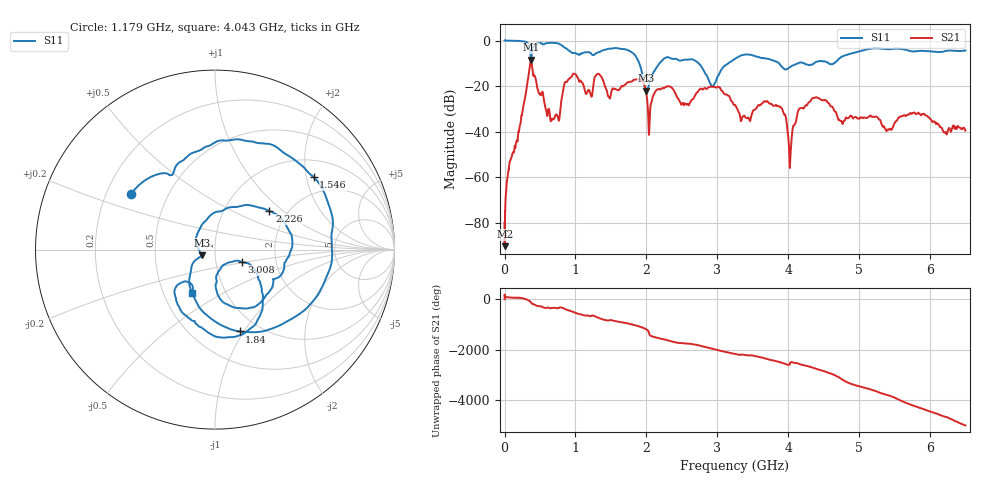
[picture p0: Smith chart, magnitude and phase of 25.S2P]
!Keysight Technologies,E5063A,MY54503115,A.05.08
!Date: Wed Nov 22 14:27:38 2023
!Data & Calibration Information:
!Freq	S11:NONE(--)	S21:NONE(--)	S12:NONE(--)	S22:NONE(--)
# Hz S dB R 50
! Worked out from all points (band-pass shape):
!   10001 points, 100 kHz to 6.5 GHz, reference 50 ohm
!   highest |S21| = -8.35 dB at 371.2 MHz (marker M1); lowest = -90.1 dB at 1.4 MHz (marker M2)
!   |S21| within 3 dB of the highest: 355.6 MHz to 388.1 MHz (32.55 MHz wide, 8.75 % of centre)
!   lowest |S11| = -22.0 dB at 1.995 GHz (marker M3), VSWR 1.17, Z = 43.2 - j2.78 ohm
!   |S11| at or under -10 dB: 1.9 GHz to 2.182 GHz (282.7 MHz wide, 13.8 % of centre); 2.739 GHz to 3.153 GHz (413.7 MHz wide, 14 % of centre); 3.871 GHz to 4.133 GHz (262.2 MHz wide, 6.55 % of centre) (the widest 3 of 5)
!   S12 and S22 are empty: the file has one direction only
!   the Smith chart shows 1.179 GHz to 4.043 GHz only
!   S11 on the Smith chart (normalised r, x): 1.179 GHz: 0.31, +0.27; 1.546 GHz: 1.46, +2.21; 1.84 GHz: 0.81, -0.96; 2.226 GHz: 1.62, +0.81; 3.008 GHz: 1.34, -0.19; 4.043 GHz: 0.69, -0.36
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100000  0.05 -0.6  -87.16 -0.1  -200.00 0.0  -200.00 0.0
1399980  -0.00 -0.8  -90.14 -171.6  -200.00 0.0  -200.00 0.0
2.301965e8  -0.23 -76.1  -35.03 56.2  -200.00 0.0  -200.00 0.0
3.712443e8  -9.10 -130.3  -8.35 -124.1  -200.00 0.0  -200.00 0.0
5.87041e8  -1.19 169.7  -30.63 18.1  -200.00 0.0  -200.00 0.0
7.326387e8  -1.13 96.3  -32.38 10.3  -200.00 0.0  -200.00 0.0
8.736866e8  -3.55 3.5  -18.17 -50.9  -200.00 0.0  -200.00 0.0
1.083633e9  -5.84 -157.4  -18.06 112.9  -200.00 0.0  -200.00 0.0
1.178532e9  -5.06 146.5  -21.72 75.0  -200.00 0.0  -200.00 0.0
1.546426e9  -3.32 36.3  -21.12 -136.8  -200.00 0.0  -200.00 0.0
1.840222e9  -6.44 -73.2  -17.16 51.7  -200.00 0.0  -200.00 0.0
1.994919e9  -22.02 -156.2  -22.22 -103.2  -200.00 0.0  -200.00 0.0
2.046919e9  -18.11 147.5  -33.61 26.0  -200.00 0.0  -200.00 0.0
2.167167e9  -10.78 57.8  -21.24 -98.3  -200.00 0.0  -200.00 0.0
2.225666e9  -8.58 35.4  -20.92 -135.3  -200.00 0.0  -200.00 0.0
3.007604e9  -15.66 -24.9  -20.30 153.0  -200.00 0.0  -200.00 0.0
3.25005e9  -8.07 -47.6  -28.16 -3.6  -200.00 0.0  -200.00 0.0
3.88314e9  -10.44 -136.3  -29.11 29.2  -200.00 0.0  -200.00 0.0
4.043038e9  -11.23 -118.0  -45.41 34.4  -200.00 0.0  -200.00 0.0
4.333583e9  -10.57 -128.1  -25.51 -173.4  -200.00 0.0  -200.00 0.0
5.417117e9  -3.80 158.6  -39.19 152.0  -200.00 0.0  -200.00 0.0
6.5e9  -4.33 107.3  -39.49 41.9  -200.00 0.0  -200.00 0.0
